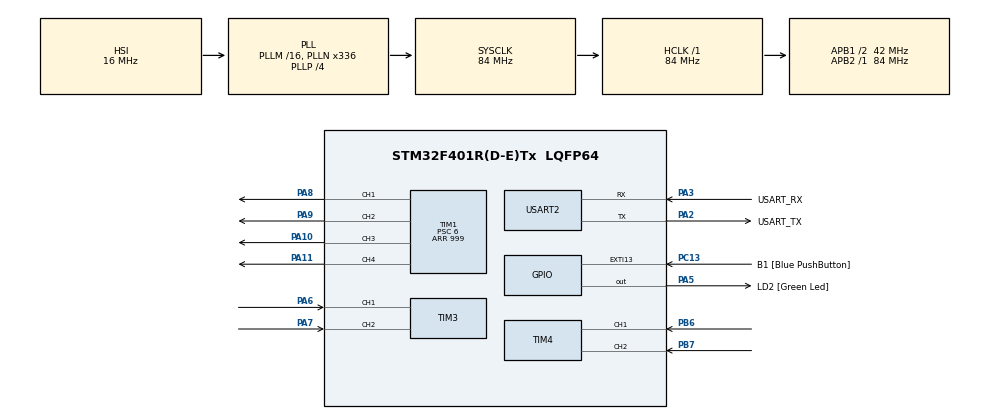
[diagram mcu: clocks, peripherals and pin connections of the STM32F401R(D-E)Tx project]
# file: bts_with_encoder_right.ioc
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Dma.Request0=USART2_RX
Dma.Request1=USART2_TX
Dma.USART2_RX.0.Direction=DMA_PERIPH_TO_MEMORY
Dma.USART2_RX.0.FIFOMode=DMA_FIFOMODE_DISABLE
Dma.USART2_RX.0.Instance=DMA1_Stream5
Dma.USART2_RX.0.MemDataAlignment=DMA_MDATAALIGN_BYTE
Dma.USART2_RX.0.MemInc=DMA_MINC_ENABLE
Dma.USART2_RX.0.Mode=DMA_CIRCULAR
Dma.USART2_RX.0.PeriphDataAlignment=DMA_PDATAALIGN_BYTE
Dma.USART2_RX.0.PeriphInc=DMA_PINC_DISABLE
Dma.USART2_RX.0.Priority=DMA_PRIORITY_VERY_HIGH
Dma.USART2_TX.1.Direction=DMA_MEMORY_TO_PERIPH
Dma.USART2_TX.1.FIFOMode=DMA_FIFOMODE_DISABLE
Dma.USART2_TX.1.Instance=DMA1_Stream6
Dma.USART2_TX.1.MemDataAlignment=DMA_MDATAALIGN_BYTE
Dma.USART2_TX.1.MemInc=DMA_MINC_ENABLE
Dma.USART2_TX.1.Mode=DMA_NORMAL
Dma.USART2_TX.1.PeriphDataAlignment=DMA_PDATAALIGN_BYTE
Dma.USART2_TX.1.PeriphInc=DMA_PINC_DISABLE
Dma.USART2_TX.1.Priority=DMA_PRIORITY_VERY_HIGH
FREERTOS.Tasks01=defaultTask,24,3000,StartDefaultTask,Default,NULL,Dynamic,NULL,NULL
Mcu.Family=STM32F4
Mcu.Name=STM32F401R(D-E)Tx
Mcu.Package=LQFP64
NVIC.DMA1_Stream5_IRQn=true\:5\:0\:false\:false\:true\:true\:false\:true\:true
NVIC.DMA1_Stream6_IRQn=true\:5\:0\:false\:false\:true\:true\:false\:true\:true
NVIC.PriorityGroup=NVIC_PRIORITYGROUP_4
NVIC.TIM5_IRQn=true\:5\:0\:false\:false\:true\:true\:true\:true\:true
NVIC.USART2_IRQn=true\:5\:0\:false\:false\:true\:true\:true\:true\:true
PA10.Signal=S_TIM1_CH3
PA11.Signal=S_TIM1_CH4
PA13.GPIO_Label=TMS
PA13.Mode=Serial_Wire
PA13.Signal=SYS_JTMS-SWDIO
PA14.GPIO_Label=TCK
PA14.Mode=Serial_Wire
PA14.Signal=SYS_JTCK-SWCLK
PA2.GPIO_Label=USART_TX
PA2.GPIO_Mode=GPIO_MODE_AF_PP
PA2.GPIO_PuPd=GPIO_NOPULL
PA2.GPIO_Speed=GPIO_SPEED_FREQ_LOW
PA2.Mode=Asynchronous
PA2.Signal=USART2_TX
PA3.GPIO_Label=USART_RX
PA3.GPIO_Mode=GPIO_MODE_AF_PP
PA3.GPIO_PuPd=GPIO_NOPULL
PA3.GPIO_Speed=GPIO_SPEED_FREQ_LOW
PA3.Mode=Asynchronous
PA3.Signal=USART2_RX
PA5.GPIO_Label=LD2 [Green Led]
PA5.GPIO_Mode=GPIO_MODE_OUTPUT_PP
PA5.GPIO_PuPd=GPIO_NOPULL
PA5.GPIO_Speed=GPIO_SPEED_FREQ_LOW
PA5.Signal=GPIO_Output
PA6.Signal=S_TIM3_CH1
PA7.Signal=S_TIM3_CH2
PA8.Signal=S_TIM1_CH1
PA9.Signal=S_TIM1_CH2
PB3.GPIO_Label=SWO
PB3.Signal=SYS_JTDO-SWO
PB6.Signal=S_TIM4_CH1
PB7.Signal=S_TIM4_CH2
PC13-ANTI_TAMP.GPIO_Label=B1 [Blue PushButton]
PC13-ANTI_TAMP.GPIO_ModeDefaultEXTI=GPIO_MODE_IT_FALLING
PC13-ANTI_TAMP.GPIO_PuPd=GPIO_NOPULL
PC13-ANTI_TAMP.Signal=GPXTI13
PC14-OSC32_IN.Mode=LSE-External-Oscillator
PC14-OSC32_IN.Signal=RCC_OSC32_IN
PC15-OSC32_OUT.Mode=LSE-External-Oscillator
PC15-OSC32_OUT.Signal=RCC_OSC32_OUT
PH0\ -\ OSC_IN.Mode=HSE-External-Oscillator
PH0\ -\ OSC_IN.Signal=RCC_OSC_IN
PH1\ -\ OSC_OUT.Mode=HSE-External-Oscillator
PH1\ -\ OSC_OUT.Signal=RCC_OSC_OUT
ProjectManager.HeapSize=0x200
ProjectManager.StackSize=0x400
ProjectManager.TargetToolchain=STM32CubeIDE
RCC.48MHZClocksFreq_Value=48000000
RCC.AHBFreq_Value=84000000
RCC.APB1CLKDivider=RCC_HCLK_DIV2
RCC.APB1Freq_Value=42000000
RCC.APB1TimFreq_Value=84000000
RCC.APB2Freq_Value=84000000
RCC.APB2TimFreq_Value=84000000
RCC.CortexFreq_Value=84000000
RCC.HCLKFreq_Value=84000000
RCC.HSE_VALUE=8000000
RCC.HSI_VALUE=16000000
RCC.PLLN=336
RCC.PLLP=RCC_PLLP_DIV4
RCC.PLLQ=7
RCC.SYSCLKFreq_VALUE=84000000
RCC.SYSCLKSource=RCC_SYSCLKSOURCE_PLLCLK
RCC.VCOOutputFreq_Value=336000000
SH.S_TIM1_CH1.0=TIM1_CH1,PWM Generation1 CH1
SH.S_TIM1_CH2.0=TIM1_CH2,PWM Generation2 CH2
SH.S_TIM1_CH3.0=TIM1_CH3,PWM Generation3 CH3
SH.S_TIM1_CH4.0=TIM1_CH4,PWM Generation4 CH4
SH.S_TIM3_CH1.0=TIM3_CH1,Encoder_Interface
SH.S_TIM3_CH2.0=TIM3_CH2,Encoder_Interface
SH.S_TIM4_CH1.0=TIM4_CH1,Encoder_Interface
SH.S_TIM4_CH2.0=TIM4_CH2,Encoder_Interface
TIM1.Channel-PWM\ Generation1\ CH1=TIM_CHANNEL_1
TIM1.Channel-PWM\ Generation2\ CH2=TIM_CHANNEL_2
TIM1.Channel-PWM\ Generation3\ CH3=TIM_CHANNEL_3
TIM1.Channel-PWM\ Generation4\ CH4=TIM_CHANNEL_4
TIM1.Period=999
TIM1.Prescaler=6
TIM3.AutoReloadPreload=TIM_AUTORELOAD_PRELOAD_ENABLE
TIM4.AutoReloadPreload=TIM_AUTORELOAD_PRELOAD_ENABLE
TIM5.AutoReloadPreload=TIM_AUTORELOAD_PRELOAD_ENABLE
TIM5.Period=200
TIM5.Prescaler=42000
TIM5.TIM_MasterOutputTrigger=TIM_TRGO_UPDATE
USART2.VirtualMode=VM_ASYNC
VP_FREERTOS_VS_CMSIS_V2.Mode=CMSIS_V2
VP_TIM1_VS_ClockSourceINT.Mode=Internal
VP_TIM5_VS_ClockSourceINT.Mode=Internal
board=NUCLEO-F401RE

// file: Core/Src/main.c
/* USER CODE BEGIN Header */
/**
  ******************************************************************************
  * @file           : main.c
  * @brief          : Main program body
  ******************************************************************************
  * @attention
  *
  * Copyright (c) 2024  * in the root directory of this software component.
  *   * in the root di  * in the root directory of this software component.

  *
  * All rights reserved.
  *
  * This software is licensed under terms that can be found in the LICENSE file
  * in the root directory of this software component.
  * If no LICENSE file comes with this software, it is provided AS-IS.
  *
  ******************************************************************************
  */
/* USER CODE END Header */
#include "main.h"
#include "cmsis_os.h"

/* USER CODE BEGIN Includes */
#include <rcl/rcl.h>
#include <rcl/error_handling.h>
#include <rclc/rclc.h>
#include <rclc/executor.h>
#include <uxr/client/transport.h>
#include <rmw_microxrcedds_c/config.h>
#include <rmw_microros/rmw_microros.h>
#include <rover_msgs/msg/controller_msg.h>
#include <rover_msgs/msg/encoder_msg.h>
#include <math.h>
#include <string.h>
#include <stdio.h>

/* USER CODE END Includes */

/* USER CODE BEGIN PTD */

typedef struct joystick {
    int16_t speed;
} joystick;
joystick rcjoystick = {0};

typedef struct {
    float targetSpeed;
    float currentSpeed;
    float previousErrorSpeed;
    int integralSpeed;

	float KP;
	float KI;
	float KD;
	float integralLimit;
} Wheel;

Wheel FrontWheel = {0, 0, 0, 0, 1.0f, 0.1f, 0.0f, 1000};
Wheel BackWheel = {0, 0, 0, 0, 1.0f, 0.1f, 0.0f, 1000};

typedef struct{
	float angular_velocity;
	int timer_counter;
	int last_counter_value;
}encoder_data;

/* USER CODE END PTD */

/* USER CODE BEGIN PD */
#define MAX_SPEED_PWM  1000
#define MIN_SPEED_PWM  -1000

// Motor hızı sınırlayıcı
#define MAX_SPEED_D  1000
#define MIN_SPEED_D  -1000

// Encoder
#define max_bits 65535;

/* USER CODE END PD */

/* USER CODE BEGIN PM */
static uint32_t last_time = 0;
/* USER CODE END PM */

TIM_HandleTypeDef htim1;
TIM_HandleTypeDef htim3;
TIM_HandleTypeDef htim4;
TIM_HandleTypeDef htim5;

UART_HandleTypeDef huart2;
DMA_HandleTypeDef hdma_usart2_rx;
DMA_HandleTypeDef hdma_usart2_tx;

/* Definitions for defaultTask */
osThreadId_t defaultTaskHandle;
const osThreadAttr_t defaultTask_attributes = {
  .name = "defaultTask",
  .stack_size = 3000 * 4,
  .priority = (osPriority_t) osPriorityNormal,
};

void SystemClock_Config(void);
static void MX_GPIO_Init(void);
static void MX_DMA_Init(void);
static void MX_USART2_UART_Init(void);
static void MX_TIM1_Init(void);
static void MX_TIM3_Init(void);
static void MX_TIM4_Init(void);
static void MX_TIM5_Init(void);
void StartDefaultTask(void *argument);

int main(void)
{

  /* MCU Configuration--------------------------------------------------------*/

  /* Reset of all peripherals, Initializes the Flash interface and the Systick. */
  HAL_Init();

  /* Configure the system clock */
  SystemClock_Config();

  /* Initialize all configured peripherals */
  MX_GPIO_Init();
  MX_DMA_Init();
  MX_USART2_UART_Init();
  MX_TIM1_Init();
  MX_TIM3_Init();
  MX_TIM4_Init();
  MX_TIM5_Init();
  /* USER CODE BEGIN 2 */
  HAL_TIM_PWM_Start(&htim1, TIM_CHANNEL_1);
  HAL_TIM_PWM_Start(&htim1, TIM_CHANNEL_2);
  HAL_TIM_PWM_Start(&htim1, TIM_CHANNEL_3);
  HAL_TIM_PWM_Start(&htim1, TIM_CHANNEL_4);
  HAL_TIM_Base_Start_IT(&htim5);
  /* USER CODE END 2 */

  /* Init scheduler */
  osKernelInitialize();

  /* Create the thread(s) */
  /* creation of defaultTask */
  defaultTaskHandle = osThreadNew(StartDefaultTask, NULL, &defaultTask_attributes);

  /* Start scheduler */
  osKernelStart();

  /* We should never get here as control is now taken by the scheduler */

  /* Infinite loop */
  while (1)
  {

  }
}

void SystemClock_Config(void)
{
  RCC_OscInitTypeDef RCC_OscInitStruct = {0};
  RCC_ClkInitTypeDef RCC_ClkInitStruct = {0};

  /** Configure the main internal regulator output voltage
  */
  __HAL_RCC_PWR_CLK_ENABLE();
  __HAL_PWR_VOLTAGESCALING_CONFIG(PWR_REGULATOR_VOLTAGE_SCALE2);

  /** Initializes the RCC Oscillators according to the specified parameters
  * in the RCC_OscInitTypeDef structure.
  */
  RCC_OscInitStruct.OscillatorType = RCC_OSCILLATORTYPE_HSI;
  RCC_OscInitStruct.HSIState = RCC_HSI_ON;
  RCC_OscInitStruct.HSICalibrationValue = RCC_HSICALIBRATION_DEFAULT;
  RCC_OscInitStruct.PLL.PLLState = RCC_PLL_ON;
  RCC_OscInitStruct.PLL.PLLSource = RCC_PLLSOURCE_HSI;
  RCC_OscInitStruct.PLL.PLLM = 16;
  RCC_OscInitStruct.PLL.PLLN = 336;
  RCC_OscInitStruct.PLL.PLLP = RCC_PLLP_DIV4;
  RCC_OscInitStruct.PLL.PLLQ = 7;
  if (HAL_RCC_OscConfig(&RCC_OscInitStruct) != HAL_OK)
  {
    Error_Handler();
  }

  /** Initializes the CPU, AHB and APB buses clocks
  */
  RCC_ClkInitStruct.ClockType = RCC_CLOCKTYPE_HCLK|RCC_CLOCKTYPE_SYSCLK
                              |RCC_CLOCKTYPE_PCLK1|RCC_CLOCKTYPE_PCLK2;
  RCC_ClkInitStruct.SYSCLKSource = RCC_SYSCLKSOURCE_PLLCLK;
  RCC_ClkInitStruct.AHBCLKDivider = RCC_SYSCLK_DIV1;
  RCC_ClkInitStruct.APB1CLKDivider = RCC_HCLK_DIV2;
  RCC_ClkInitStruct.APB2CLKDivider = RCC_HCLK_DIV1;

  if (HAL_RCC_ClockConfig(&RCC_ClkInitStruct, FLASH_LATENCY_2) != HAL_OK)
  {
    Error_Handler();
  }
}

static void MX_TIM1_Init(void)
{

  TIM_ClockConfigTypeDef sClockSourceConfig = {0};
  TIM_MasterConfigTypeDef sMasterConfig = {0};
  TIM_OC_InitTypeDef sConfigOC = {0};
  TIM_BreakDeadTimeConfigTypeDef sBreakDeadTimeConfig = {0};

  htim1.Instance = TIM1;
  htim1.Init.Prescaler = 6;
  htim1.Init.CounterMode = TIM_COUNTERMODE_UP;
  htim1.Init.Period = 999;
  htim1.Init.ClockDivision = TIM_CLOCKDIVISION_DIV1;
  htim1.Init.RepetitionCounter = 0;
  htim1.Init.AutoReloadPreload = TIM_AUTORELOAD_PRELOAD_DISABLE;
  if (HAL_TIM_Base_Init(&htim1) != HAL_OK)
  {
    Error_Handler();
  }
  sClockSourceConfig.ClockSource = TIM_CLOCKSOURCE_INTERNAL;
  if (HAL_TIM_ConfigClockSource(&htim1, &sClockSourceConfig) != HAL_OK)
  {
    Error_Handler();
  }
  if (HAL_TIM_PWM_Init(&htim1) != HAL_OK)
  {
    Error_Handler();
  }
  sMasterConfig.MasterOutputTrigger = TIM_TRGO_RESET;
  sMasterConfig.MasterSlaveMode = TIM_MASTERSLAVEMODE_DISABLE;
  if (HAL_TIMEx_MasterConfigSynchronization(&htim1, &sMasterConfig) != HAL_OK)
  {
    Error_Handler();
  }
  sConfigOC.OCMode = TIM_OCMODE_PWM1;
  sConfigOC.Pulse = 0;
  sConfigOC.OCPolarity = TIM_OCPOLARITY_HIGH;
  sConfigOC.OCNPolarity = TIM_OCNPOLARITY_HIGH;
  sConfigOC.OCFastMode = TIM_OCFAST_DISABLE;
  sConfigOC.OCIdleState = TIM_OCIDLESTATE_RESET;
  sConfigOC.OCNIdleState = TIM_OCNIDLESTATE_RESET;
  if (HAL_TIM_PWM_ConfigChannel(&htim1, &sConfigOC, TIM_CHANNEL_1) != HAL_OK)
  {
    Error_Handler();
  }
  if (HAL_TIM_PWM_ConfigChannel(&htim1, &sConfigOC, TIM_CHANNEL_2) != HAL_OK)
  {
    Error_Handler();
  }
  if (HAL_TIM_PWM_ConfigChannel(&htim1, &sConfigOC, TIM_CHANNEL_3) != HAL_OK)
  {
    Error_Handler();
  }
  if (HAL_TIM_PWM_ConfigChannel(&htim1, &sConfigOC, TIM_CHANNEL_4) != HAL_OK)
  {
    Error_Handler();
  }
  sBreakDeadTimeConfig.OffStateRunMode = TIM_OSSR_DISABLE;
  sBreakDeadTimeConfig.OffStateIDLEMode = TIM_OSSI_DISABLE;
  sBreakDeadTimeConfig.LockLevel = TIM_LOCKLEVEL_OFF;
  sBreakDeadTimeConfig.DeadTime = 0;
  sBreakDeadTimeConfig.BreakState = TIM_BREAK_DISABLE;
  sBreakDeadTimeConfig.BreakPolarity = TIM_BREAKPOLARITY_HIGH;
  sBreakDeadTimeConfig.AutomaticOutput = TIM_AUTOMATICOUTPUT_DISABLE;
  if (HAL_TIMEx_ConfigBreakDeadTime(&htim1, &sBreakDeadTimeConfig) != HAL_OK)
  {
    Error_Handler();
  }
  /* USER CODE BEGIN TIM1_Init 2 */
  HAL_TIM_PWM_Start(&htim1, TIM_CHANNEL_1);
  HAL_TIM_PWM_Start(&htim1, TIM_CHANNEL_2);
  HAL_TIM_PWM_Start(&htim1, TIM_CHANNEL_3);
  HAL_TIM_PWM_Start(&htim1, TIM_CHANNEL_4);
  /* USER CODE END TIM1_Init 2 */
  HAL_TIM_MspPostInit(&htim1);

}

static void MX_TIM3_Init(void)
{

  TIM_Encoder_InitTypeDef sConfig = {0};
  TIM_MasterConfigTypeDef sMasterConfig = {0};

  htim3.Instance = TIM3;
  htim3.Init.Prescaler = 0;
  htim3.Init.CounterMode = TIM_COUNTERMODE_UP;
  htim3.Init.Period = 65535;
  htim3.Init.ClockDivision = TIM_CLOCKDIVISION_DIV1;
  htim3.Init.AutoReloadPreload = TIM_AUTORELOAD_PRELOAD_ENABLE;
  sConfig.EncoderMode = TIM_ENCODERMODE_TI1;
  sConfig.IC1Polarity = TIM_ICPOLARITY_RISING;
  sConfig.IC1Selection = TIM_ICSELECTION_DIRECTTI;
  sConfig.IC1Prescaler = TIM_ICPSC_DIV1;
  sConfig.IC1Filter = 0;
  sConfig.IC2Polarity = TIM_ICPOLARITY_RISING;
  sConfig.IC2Selection = TIM_ICSELECTION_DIRECTTI;
  sConfig.IC2Prescaler = TIM_ICPSC_DIV1;
  sConfig.IC2Filter = 0;
  if (HAL_TIM_Encoder_Init(&htim3, &sConfig) != HAL_OK)
  {
    Error_Handler();
  }
  sMasterConfig.MasterOutputTrigger = TIM_TRGO_RESET;
  sMasterConfig.MasterSlaveMode = TIM_MASTERSLAVEMODE_DISABLE;
  if (HAL_TIMEx_MasterConfigSynchronization(&htim3, &sMasterConfig) != HAL_OK)
  {
    Error_Handler();
  }
  /* USER CODE BEGIN TIM3_Init 2 */
  HAL_TIM_Encoder_Start(&htim3, TIM_CHANNEL_ALL);
  /* USER CODE END TIM3_Init 2 */

}

static void MX_TIM4_Init(void)
{

  TIM_Encoder_InitTypeDef sConfig = {0};
  TIM_MasterConfigTypeDef sMasterConfig = {0};

  htim4.Instance = TIM4;
  htim4.Init.Prescaler = 0;
  htim4.Init.CounterMode = TIM_COUNTERMODE_UP;
  htim4.Init.Period = 65535;
  htim4.Init.ClockDivision = TIM_CLOCKDIVISION_DIV1;
  htim4.Init.AutoReloadPreload = TIM_AUTORELOAD_PRELOAD_ENABLE;
  sConfig.EncoderMode = TIM_ENCODERMODE_TI1;
  sConfig.IC1Polarity = TIM_ICPOLARITY_RISING;
  sConfig.IC1Selection = TIM_ICSELECTION_DIRECTTI;
  sConfig.IC1Prescaler = TIM_ICPSC_DIV1;
  sConfig.IC1Filter = 0;
  sConfig.IC2Polarity = TIM_ICPOLARITY_RISING;
  sConfig.IC2Selection = TIM_ICSELECTION_DIRECTTI;
  sConfig.IC2Prescaler = TIM_ICPSC_DIV1;
  sConfig.IC2Filter = 0;
  if (HAL_TIM_Encoder_Init(&htim4, &sConfig) != HAL_OK)
  {
    Error_Handler();
  }
  sMasterConfig.MasterOutputTrigger = TIM_TRGO_RESET;
  sMasterConfig.MasterSlaveMode = TIM_MASTERSLAVEMODE_DISABLE;
  if (HAL_TIMEx_MasterConfigSynchronization(&htim4, &sMasterConfig) != HAL_OK)
  {
    Error_Handler();
  }
  /* USER CODE BEGIN TIM4_Init 2 */
  HAL_TIM_Encoder_Start(&htim4, TIM_CHANNEL_ALL);
  /* USER CODE END TIM4_Init 2 */

}

static void MX_TIM5_Init(void)
{

  TIM_ClockConfigTypeDef sClockSourceConfig = {0};
  TIM_MasterConfigTypeDef sMasterConfig = {0};

  htim5.Instance = TIM5;
  htim5.Init.Prescaler = 42000;
  htim5.Init.CounterMode = TIM_COUNTERMODE_UP;
  htim5.Init.Period = 200;
  htim5.Init.ClockDivision = TIM_CLOCKDIVISION_DIV1;
  htim5.Init.AutoReloadPreload = TIM_AUTORELOAD_PRELOAD_ENABLE;
  if (HAL_TIM_Base_Init(&htim5) != HAL_OK)
  {
    Error_Handler();
  }
  sClockSourceConfig.ClockSource = TIM_CLOCKSOURCE_INTERNAL;
  if (HAL_TIM_ConfigClockSource(&htim5, &sClockSourceConfig) != HAL_OK)
  {
    Error_Handler();
  }
  sMasterConfig.MasterOutputTrigger = TIM_TRGO_UPDATE;
  sMasterConfig.MasterSlaveMode = TIM_MASTERSLAVEMODE_DISABLE;
  if (HAL_TIMEx_MasterConfigSynchronization(&htim5, &sMasterConfig) != HAL_OK)
  {
    Error_Handler();
  }

}

static void MX_USART2_UART_Init(void)
{

  huart2.Instance = USART2;
  huart2.Init.BaudRate = 115200;
  huart2.Init.WordLength = UART_WORDLENGTH_8B;
  huart2.Init.StopBits = UART_STOPBITS_1;
  huart2.Init.Parity = UART_PARITY_NONE;
  huart2.Init.Mode = UART_MODE_TX_RX;
  huart2.Init.HwFlowCtl = UART_HWCONTROL_NONE;
  huart2.Init.OverSampling = UART_OVERSAMPLING_16;
  if (HAL_UART_Init(&huart2) != HAL_OK)
  {
    Error_Handler();
  }

}

static void MX_DMA_Init(void)
{

  /* DMA controller clock enable */
  __HAL_RCC_DMA1_CLK_ENABLE();

  /* DMA interrupt init */
  /* DMA1_Stream5_IRQn interrupt configuration */
  HAL_NVIC_SetPriority(DMA1_Stream5_IRQn, 5, 0);
  HAL_NVIC_EnableIRQ(DMA1_Stream5_IRQn);
  /* DMA1_Stream6_IRQn interrupt configuration */
  HAL_NVIC_SetPriority(DMA1_Stream6_IRQn, 5, 0);
  HAL_NVIC_EnableIRQ(DMA1_Stream6_IRQn);

}

static void MX_GPIO_Init(void)
{
  GPIO_InitTypeDef GPIO_InitStruct = {0};

  /* GPIO Ports Clock Enable */
  __HAL_RCC_GPIOC_CLK_ENABLE();
  __HAL_RCC_GPIOH_CLK_ENABLE();
  __HAL_RCC_GPIOA_CLK_ENABLE();
  __HAL_RCC_GPIOB_CLK_ENABLE();

  /*Configure GPIO pin Output Level */
  HAL_GPIO_WritePin(LD2_GPIO_Port, LD2_Pin, GPIO_PIN_RESET);

  /*Configure GPIO pin : B1_Pin */
  GPIO_InitStruct.Pin = B1_Pin;
  GPIO_InitStruct.Mode = GPIO_MODE_IT_FALLING;
  GPIO_InitStruct.Pull = GPIO_NOPULL;
  HAL_GPIO_Init(B1_GPIO_Port, &GPIO_InitStruct);

  /*Configure GPIO pin : LD2_Pin */
  GPIO_InitStruct.Pin = LD2_Pin;
  GPIO_InitStruct.Mode = GPIO_MODE_OUTPUT_PP;
  GPIO_InitStruct.Pull = GPIO_NOPULL;
  GPIO_InitStruct.Speed = GPIO_SPEED_FREQ_LOW;
  HAL_GPIO_Init(LD2_GPIO_Port, &GPIO_InitStruct);

}

/* USER CODE BEGIN 4 */
bool cubemx_transport_open(struct uxrCustomTransport * transport);
bool cubemx_transport_close(struct uxrCustomTransport * transport);
size_t cubemx_transport_write(struct uxrCustomTransport* transport, const uint8_t * buf, size_t len, uint8_t * err);
size_t cubemx_transport_read(struct uxrCustomTransport* transport, uint8_t* buf, size_t len, int timeout, uint8_t* err);

void * microros_allocate(size_t size, void * state);
void microros_deallocate(void * pointer, void * state);
void * microros_reallocate(void * pointer, size_t size, void * state);
void * microros_zero_allocate(size_t number_of_elements, size_t size_of_element, void * state);

//<<<<<<<<<<<<<<<<<<<<<<<<<<<<<<<<<<<<<<<<<<<<MESAJ ALMA>>>>>>>>>>>>>>>>>>>>>>>>>>>>>>>>>>>>>>>>>>>>>>>>>>>>>>>>>>>>>>>>
//----------------------------------------------------------------------------------------------------------------------

rcl_node_t nodesub;
rcl_subscription_t subscriber;
rcl_subscription_t subscriber2;
int dt;
volatile uint32_t last_heartbeat_time = 0,heartbeat_time = 0,last_message_time;
bool connection_lost = false;

//<<<<<<<<<<<<<<<<<<<<<<<<<<<<<<<<<<<<<<<<<<<< Encoder >>>>>>>>>>>>>>>>>>>>>>>>>>>>>>>>>>>>>>>>>>>>>>>>>>>>>>>>>>>
//--------------------------------------------------------------------------------------------------------------------
int delay = 100;

rcl_node_t nodesub;
rover_msgs__msg__EncoderMsg encodermsg;
rcl_subscription_t subscriber;

encoder_data front;
encoder_data rear;

void read_encoder_angular_velocity(encoder_data *motor,TIM_HandleTypeDef *htim,int delay){
	motor->timer_counter = __HAL_TIM_GET_COUNTER(htim);

				 int change = motor->last_counter_value - motor->timer_counter;

			  	  if(change > 60000){
			  		motor->angular_velocity = -change + max_bits;// tekerlekteki açısal hızı veriyor olması lazım
			  	  }
			  	  else if (change < -60000){
			  		motor->angular_velocity = -change - max_bits;
			  	  }
			  	  else{
			  		motor->angular_velocity = (motor->timer_counter - motor->last_counter_value);
			  	  }

	motor->angular_velocity *= 1000/delay;// geçen süreye bölmece
	if(htim->Instance == TIM2 && change > 0){
		motor->angular_velocity /=3500;
	}
	else{
		motor->angular_velocity /=6000;
	}
	motor->angular_velocity *= 16; motor->angular_velocity /= 100;
	motor ->angular_velocity*= 2 * M_PI;
	motor->last_counter_value = motor->timer_counter;
}

void HAL_TIM_PeriodElapsedCallback(TIM_HandleTypeDef *htim){

	if(htim->Instance == TIM5){

		read_encoder_angular_velocity(&front,&htim3, delay);//on motor
		read_encoder_angular_velocity(&rear, &htim4, delay);//arka motor
		//HAL_GPIO_TogglePin(GPIOA, GPIO_PIN_5);

	}

}

//<<<<<<<<<<<<<<<<<<<<<<<<<<<<<<<<<<<<<<<<<<<< MOTOR KONTROL >>>>>>>>>>>>>>>>>>>>>>>>>>>>>>>>>>>>>>>>>>>>>>>>>>>>>>>>>>>
//--------------------------------------------------------------------------------------------------------------------
/* --- Hız-PWM Uyumluluğu --- */
int16_t speedToPWM(int16_t speed, int16_t max_speed) {
    return speed;
}

/* --- PWM Ayarı --- */
void setPWM(uint32_t channel1, uint32_t channel2, int16_t pwmvalue) {

	if (pwmvalue >= 0 && pwmvalue <= 1000) {
        __HAL_TIM_SET_COMPARE(&htim1, channel1, fabs(pwmvalue));
        __HAL_TIM_SET_COMPARE(&htim1, channel2,0);
    }

    else if(pwmvalue >= -1000 && pwmvalue < 0 ) {
        __HAL_TIM_SET_COMPARE(&htim1, channel1, 0);
        __HAL_TIM_SET_COMPARE(&htim1, channel2, fabs(pwmvalue));
    }

    else if(pwmvalue > 1000 ) {
        __HAL_TIM_SET_COMPARE(&htim1, channel1, 1000);
        __HAL_TIM_SET_COMPARE(&htim1, channel2, 0);
    }

    else if(pwmvalue < -1000 ) {
        __HAL_TIM_SET_COMPARE(&htim1, channel1, 0);
        __HAL_TIM_SET_COMPARE(&htim1, channel2, 1000);
    }

    else {

    }
}

/* --- PID Hesaplama --- */
float calculatePID(Wheel *wheel, int max_pwm, int min_pwm, int dt) {

	float error = wheel->targetSpeed*500-wheel->currentSpeed*500;
    wheel->integralSpeed += error / dt;
    if (wheel->integralSpeed > wheel->integralLimit) wheel->integralSpeed = max_pwm / wheel->KP;  // Anti-windup
    if (wheel->integralSpeed < -wheel->integralLimit) wheel->integralSpeed = min_pwm / wheel->KP;  // Anti-windup

    float derivative = (error - wheel->previousErrorSpeed) * dt;
    wheel->previousErrorSpeed = error;

    float output = wheel->KP * error + wheel->KI * wheel->integralSpeed + wheel->KD * derivative;

    if (output > max_pwm) output = max_pwm;
    if (output < min_pwm) output = min_pwm;

    return output;
}

uint64_t now;
/* --- Tekerlek Kontrolü --- */
void controlWheel(uint32_t channel1, uint32_t channel2, Wheel *wheel) {

	now = HAL_GetTick();
	dt = now - last_heartbeat_time;
	int16_t pwmValue = calculatePID(wheel, MAX_SPEED_PWM, MIN_SPEED_PWM, dt);
	last_heartbeat_time = HAL_GetTick();
	setPWM(channel1, channel2, pwmValue);

}

void subscription_callback_controller(const void * msgin){

	// Cast received message to used type
	const rover_msgs__msg__ControllerMsg * incoming_msg = (const rover_msgs__msg__ControllerMsg *)msgin;
	HAL_GPIO_WritePin(GPIOA, GPIO_PIN_5, 1);
    //en son alinan mesajin kacinci saniyede alindigini tut
	last_message_time = HAL_GetTick();

	HAL_GPIO_WritePin(GPIOA, GPIO_PIN_5, 1);
    FrontWheel.targetSpeed  = incoming_msg->saghiz;
    BackWheel.targetSpeed   = incoming_msg->saghiz;

    // Rover'ı kontrol et
    controlWheel(TIM_CHANNEL_1, TIM_CHANNEL_2, &FrontWheel);
    controlWheel(TIM_CHANNEL_3, TIM_CHANNEL_4, &BackWheel);

}

/* USER CODE END 4 */

void StartDefaultTask(void *argument)
{
  /* USER CODE BEGIN 5 */
	  // micro-ROS configuration
	  rmw_uros_set_custom_transport(
	    true,
	    (void *) &huart2,
	    cubemx_transport_open,
	    cubemx_transport_close,
	    cubemx_transport_write,
	    cubemx_transport_read);

	  rcl_allocator_t freeRTOS_allocator = rcutils_get_zero_initialized_allocator();
	  freeRTOS_allocator.allocate = microros_allocate;
	  freeRTOS_allocator.deallocate = microros_deallocate;
	  freeRTOS_allocator.reallocate = microros_reallocate;
	  freeRTOS_allocator.zero_allocate =  microros_zero_allocate;

	  rover_msgs__msg__ControllerMsg submsg;
	  	      rover_msgs__msg__EncoderMsg encodermsg;
	  	      rclc_support_t support;
	  	      rclc_executor_t executor;
	  	      rcl_allocator_t allocator;
	  	      rcl_publisher_t publisher;

	  	      allocator = rcl_get_default_allocator();

	  	      	    // create init_options
	  	      rclc_support_init(&support, 0, NULL, &allocator);

	  	      	    // create node
	  	      rclc_node_init_default(&nodesub, "sub_node", "", &support);
	  	      rclc_subscription_init_default(
	  	      	        &subscriber,
	  	      	        &nodesub,
	  	      	        ROSIDL_GET_MSG_TYPE_SUPPORT(rover_msgs, msg, ControllerMsg),
	  	      	        "joystick_cmd");

	  	      rclc_executor_init(&executor, &support.context, 2, &allocator);

	  	      	    // create subscription

	  	      rclc_executor_add_subscription(
	  	      	      &executor, &subscriber, &submsg,
	  	      	      &subscription_callback_controller, ON_NEW_DATA);

	  	      rclc_publisher_init_default(
	  	          &publisher,
	  	          &nodesub,
	  	          ROSIDL_GET_MSG_TYPE_SUPPORT(rover_msgs, msg, EncoderMsg),
	  	          "encoder_right");

	  while(1)
	  {
		  //mesaj gelip gelmedigini kontrol et
		  rclc_executor_spin_some(&executor,100);
		  encodermsg.r_front = front.angular_velocity;
		  encodermsg.r_back =  rear.angular_velocity;
		  rcl_publish(&publisher, &encodermsg, NULL);

		  //programin calisma zamani
		  heartbeat_time = HAL_GetTick();

		  //250 milisaniye boyunca mesaj alinmamissa motorlari durdur.
		  if (HAL_GetTick() - last_message_time > 250) {
		      connection_lost = true;
		  }
		  else {
		      connection_lost = false;
		  }

		  if(connection_lost == true){
		    __HAL_TIM_SET_COMPARE(&htim1,TIM_CHANNEL_1,0);
		    __HAL_TIM_SET_COMPARE(&htim1,TIM_CHANNEL_2,0);
		    __HAL_TIM_SET_COMPARE(&htim1,TIM_CHANNEL_3,0);
			__HAL_TIM_SET_COMPARE(&htim1,TIM_CHANNEL_4,0);

			  HAL_GPIO_WritePin(GPIOA, GPIO_PIN_5, 0);
		  }
		  }
  /* USER CODE END 5 */
}

void Error_Handler(void)
{
  while (1)
  {
  }
}
